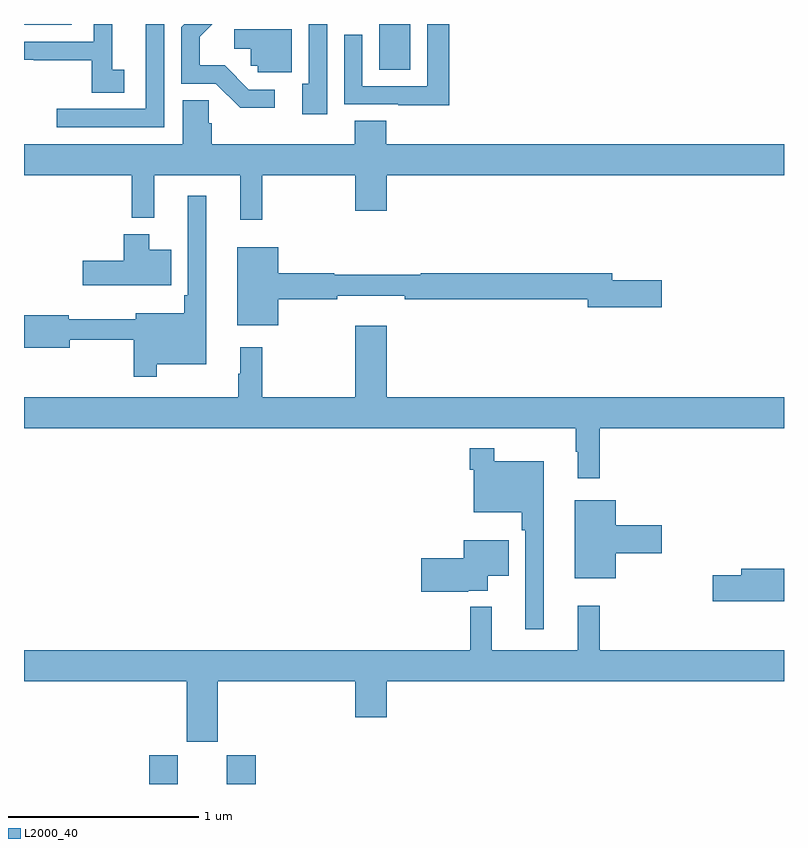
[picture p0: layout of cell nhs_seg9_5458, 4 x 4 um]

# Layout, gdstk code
import gdstk
lib = gdstk.Library(unit=1e-6, precision=1e-09)
def R(c, l, rs):  # rectangles x0, y0, x1, y1
    for r in rs: c.add(gdstk.rectangle(r[:2], r[2:], *l))
def P(c, l, *ps):  # polygons
    for p in ps: c.add(gdstk.Polygon(p, *l))
L2000_40 = (2000, 40)

nhs_seg9_5458 = lib.new_cell('nhs_seg9_5458')
R(nhs_seg9_5458, L2000_40, [(427.658,1242.5,427.81,1242.651), (428.066,1242.5,428.219,1242.651), (428.87,1246.258,429.034,1246.5), (427,1246.497,427.252,1246.5)])
P(nhs_seg9_5458, L2000_40, [(429.239,1246.5),(429.123,1246.5),(429.123,1246.173),(428.781,1246.173),(428.781,1246.444),(428.685,1246.444),(428.685,1246.077),(428.969,1246.077),(428.969,1246.073),(429.239,1246.073)],
  [(427.528,1246.26),(427.464,1246.26),(427.464,1246.5),(427.368,1246.5),(427.368,1246.407),(427,1246.407),(427,1246.311),(427.051,1246.311),(427.051,1246.309),(427.356,1246.309),(427.356,1246.138),(427.528,1246.138)],
  [(428.32,1246.155),(428.184,1246.155),(428.057,1246.282),(427.924,1246.282),(427.924,1246.432),(427.992,1246.5),(427.844,1246.5),(427.827,1246.483),(427.827,1246.185),(428.01,1246.185),(428.138,1246.058),(428.32,1246.058)],
  [(428.595,1246.5),(428.499,1246.5),(428.499,1246.186),(428.465,1246.186),(428.465,1246.026),(428.595,1246.026)],
  [(427.737,1246.5),(427.64,1246.5),(427.64,1246.053),(427.173,1246.053),(427.173,1245.957),(427.737,1245.957)],
  [(428.41,1246.473),(428.106,1246.473),(428.106,1246.37),(428.193,1246.37),(428.193,1246.281),(428.229,1246.281),(428.229,1246.245),(428.41,1246.245)],
  [(428.255,1245.704),(428.744,1245.704),(428.744,1245.516),(428.908,1245.516),(428.908,1245.704),(431,1245.704),(431,1245.868),(428.906,1245.868),(428.906,1245.992),(428.741,1245.992),(428.741,1245.868),(427.988,1245.868),(427.988,1245.978),(427.973,1245.978),(427.973,1246.1),(427.835,1246.1),(427.835,1245.868),(427,1245.868),(427,1245.704),(427.567,1245.704),(427.567,1245.479),(427.685,1245.479),(427.685,1245.704),(428.138,1245.704),(428.138,1245.471),(428.255,1245.471)],
  [(427.699,1244.708),(427.96,1244.708),(427.96,1245.595),(427.863,1245.595),(427.863,1245.073),(427.843,1245.073),(427.843,1244.977),(427.589,1244.977),(427.589,1244.947),(427.236,1244.947),(427.236,1244.966),(427.001,1244.966),(427.001,1244.93),(427,1244.93),(427,1244.795),(427.24,1244.795),(427.24,1244.838),(427.578,1244.838),(427.578,1244.643),(427.699,1244.643)],
  [(427.774,1245.313),(427.66,1245.313),(427.66,1245.394),(427.526,1245.394),(427.526,1245.255),(427.308,1245.255),(427.308,1245.125),(427.774,1245.125)],
  [(428.338,1245.052),(428.648,1245.052),(428.648,1245.071),(429.004,1245.071),(429.004,1245.052),(429.968,1245.052),(429.968,1245.01),(430.357,1245.01),(430.357,1245.152),(430.096,1245.152),(430.096,1245.188),(429.087,1245.188),(429.087,1245.181),(428.634,1245.181),(428.634,1245.188),(428.338,1245.188),(428.338,1245.325),(428.123,1245.325),(428.123,1244.915),(428.338,1244.915)],
  [(430.031,1244.372),(431,1244.372),(431,1244.536),(428.908,1244.536),(428.908,1244.911),(428.744,1244.911),(428.744,1244.536),(428.255,1244.536),(428.255,1244.8),(428.138,1244.8),(428.138,1244.66),(428.127,1244.66),(428.127,1244.536),(427,1244.536),(427,1244.372),(429.903,1244.372),(429.903,1244.249),(429.914,1244.249),(429.914,1244.109),(430.031,1244.109)],
  [(429.736,1244.2),(429.475,1244.2),(429.475,1244.266),(429.346,1244.266),(429.346,1244.153),(429.366,1244.153),(429.366,1243.931),(429.619,1243.931),(429.619,1243.835),(429.639,1243.835),(429.639,1243.314),(429.736,1243.314)],
  [(430.114,1243.715),(430.357,1243.715),(430.357,1243.862),(430.114,1243.862),(430.114,1243.993),(429.899,1243.993),(429.899,1243.583),(430.114,1243.583)],
  [(429.338,1243.517),(429.442,1243.517),(429.442,1243.595),(429.55,1243.595),(429.55,1243.783),(429.314,1243.783),(429.314,1243.688),(429.09,1243.688),(429.09,1243.512),(429.338,1243.512)],
  [(431,1243.634),(430.775,1243.634),(430.775,1243.598),(430.626,1243.598),(430.626,1243.463),(431,1243.463)],
  [(431,1243.204),(430.031,1243.204),(430.031,1243.438),(429.914,1243.438),(429.914,1243.204),(429.461,1243.204),(429.461,1243.432),(429.348,1243.432),(429.348,1243.204),(427,1243.204),(427,1243.04),(427.856,1243.04),(427.856,1242.723),(428.02,1242.723),(428.02,1243.04),(428.744,1243.04),(428.744,1242.852),(428.908,1242.852),(428.908,1243.04),(431,1243.04)])

lib.write_gds('nhs_seg9_5458.gds')
